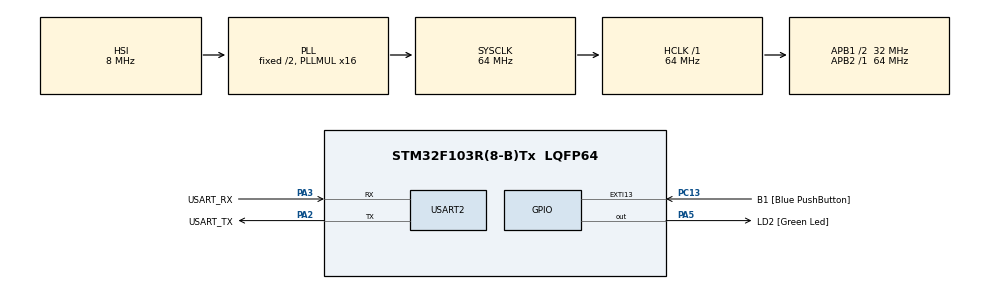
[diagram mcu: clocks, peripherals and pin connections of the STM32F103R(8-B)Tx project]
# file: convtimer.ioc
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Mcu.Family=STM32F1
Mcu.Name=STM32F103R(8-B)Tx
Mcu.Package=LQFP64
NVIC.EXTI15_10_IRQn=true\:0\:0\:false\:false\:true\:true\:true\:true
NVIC.PriorityGroup=NVIC_PRIORITYGROUP_4
PA13.GPIO_Label=TMS
PA13.Mode=Serial_Wire
PA13.Signal=SYS_JTMS-SWDIO
PA14.GPIO_Label=TCK
PA14.Mode=Serial_Wire
PA14.Signal=SYS_JTCK-SWCLK
PA2.GPIO_Label=USART_TX
PA2.GPIO_Mode=GPIO_MODE_AF_PP
PA2.GPIO_PuPd=GPIO_NOPULL
PA2.GPIO_Speed=GPIO_SPEED_FREQ_LOW
PA2.Mode=Asynchronous
PA2.Signal=USART2_TX
PA3.GPIO_Label=USART_RX
PA3.GPIO_Mode=GPIO_MODE_AF_PP
PA3.GPIO_PuPd=GPIO_NOPULL
PA3.GPIO_Speed=GPIO_SPEED_FREQ_LOW
PA3.Mode=Asynchronous
PA3.Signal=USART2_RX
PA5.GPIO_Label=LD2 [Green Led]
PA5.GPIO_ModeDefaultOutputPP=GPIO_MODE_OUTPUT_PP
PA5.GPIO_PuPd=GPIO_NOPULL
PA5.GPIO_Speed=GPIO_SPEED_FREQ_LOW
PA5.Signal=GPIO_Output
PB3.GPIO_Label=SWO
PB3.Signal=SYS_JTDO-TRACESWO
PC13-TAMPER-RTC.GPIO_Label=B1 [Blue PushButton]
PC13-TAMPER-RTC.GPIO_PuPd=GPIO_NOPULL
PC13-TAMPER-RTC.Signal=GPXTI13
PC14-OSC32_IN.Mode=LSE-External-Oscillator
PC14-OSC32_IN.Signal=RCC_OSC32_IN
PC15-OSC32_OUT.Mode=LSE-External-Oscillator
PC15-OSC32_OUT.Signal=RCC_OSC32_OUT
PD0-OSC_IN.Mode=HSE-External-Clock-Source
PD0-OSC_IN.Signal=RCC_OSC_IN
PD1-OSC_OUT.Mode=HSE-External-Clock-Source
PD1-OSC_OUT.Signal=RCC_OSC_OUT
ProjectManager.HeapSize=0x200
ProjectManager.StackSize=0x400
ProjectManager.TargetToolchain=STM32CubeIDE
RCC.AHBFreq_Value=64000000
RCC.APB1CLKDivider=RCC_HCLK_DIV2
RCC.APB1Freq_Value=32000000
RCC.APB1TimFreq_Value=64000000
RCC.APB2Freq_Value=64000000
RCC.APB2TimFreq_Value=64000000
RCC.HCLKFreq_Value=64000000
RCC.PLLMUL=RCC_PLL_MUL16
RCC.RTCClockSelection=RCC_RTCCLKSOURCE_LSE
RCC.SYSCLKFreq_VALUE=64000000
RCC.SYSCLKSource=RCC_SYSCLKSOURCE_PLLCLK
RCC.USBFreq_Value=64000000
TIM2.Prescaler=63
USART2.VirtualMode=VM_ASYNC
VP_TIM2_VS_ClockSourceINT.Mode=Internal
board=NUCLEO-F103RB

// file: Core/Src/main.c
/* USER CODE BEGIN Header */
/**
  ******************************************************************************
  * @file           : main.c
  * @brief          : Main program body
  ******************************************************************************
  * @attention
  *
  * Copyright (c) 2025 STMicroelectronics.
  * All rights reserved.
  *
  * This software is licensed under terms that can be found in the LICENSE file
  * in the root directory of this software component.
  * If no LICENSE file comes with this software, it is provided AS-IS.
  *
  ******************************************************************************
  */
/* USER CODE END Header */
#include "main.h"

/* USER CODE BEGIN Includes */
#include <string.h>
#include <math.h>
/* USER CODE END Includes */

/* USER CODE BEGIN PD */

/**
 * @brief Dimensão total do bloco recebido (com borda), 10×10 pixels.
 */
#define IMG_WIDTH_TOTAL  10
#define IMG_HEIGHT_TOTAL 10

/**
 * @brief Dimensão útil da imagem onde a convolução é aplicada (8×8 pixels).
 */
#define IMG_WIDTH_USEFUL 8
#define IMG_HEIGHT_USEFUL 8

/**
 * @brief Quantidade de bytes recebidos por bloco (imagem completa 10×10).
 */
#define BLOCK_RX_SIZE (IMG_WIDTH_TOTAL * IMG_HEIGHT_TOTAL)

/**
 * @brief Quantidade de bytes enviados após processamento (imagem 8×8).
 */
#define BLOCK_TX_SIZE (IMG_WIDTH_USEFUL * IMG_HEIGHT_USEFUL)

/* USER CODE END PD */

TIM_HandleTypeDef htim2;

UART_HandleTypeDef huart2;

/* USER CODE BEGIN PV */

/**
 * @brief Buffer de recepção contendo imagem 10×10 enviada pelo host.
 */
uint8_t rx_buffer[BLOCK_RX_SIZE];

/**
 * @brief Buffer de transmissão contendo imagem filtrada 8×8.
 */
uint8_t tx_buffer[BLOCK_TX_SIZE];

/**
 * @brief Sequência de reconhecimento (ACK). Enviada antes e depois de cada bloco.
 */
uint8_t ack[2] = {0xAA, 0x55};
uint32_t t_start, t_end, t_exec_us;

/**
 * @brief Kernel 3×3 utilizado no processamento.
 */

const int Filter[3][3] = {
    {-1, 0, 1},
    {-2, 0, 2},
    {-1, 0, 1}
};

/* USER CODE END PV */

void SystemClock_Config(void);
static void MX_GPIO_Init(void);
static void MX_USART2_UART_Init(void);
static void MX_TIM2_Init(void);
/* USER CODE BEGIN PFP */

/**
 * @brief Aplica convolução 3×3 somente na área útil (8×8) da imagem.
 *
 * @param input   Imagem de entrada 10×10 (com bordas).
 * @param output  Imagem de saída 8×8 (somente região central).
 * @param filter  Kernel 3×3 a ser aplicado.
 *
 * @details
 * A função ignora os pixels da borda, deslocando o índice adequadamente para
 * mapear a região útil. Valores de saída são saturados para o intervalo [0, 255].
 */
void apply_convolution(uint8_t input[IMG_HEIGHT_TOTAL][IMG_WIDTH_TOTAL],
                       uint8_t output[IMG_HEIGHT_USEFUL][IMG_WIDTH_USEFUL],
                       const int filter[3][3]);

/* USER CODE END PFP */

int main(void)
{

  /* MCU Configuration--------------------------------------------------------*/

  /* Reset of all peripherals, Initializes the Flash interface and the Systick. */
  HAL_Init();

  /* Configure the system clock */
  SystemClock_Config();

  /* Initialize all configured peripherals */
  MX_GPIO_Init();
  MX_USART2_UART_Init();
  MX_TIM2_Init();
  HAL_TIM_Base_Start(&htim2);

  /* Infinite loop */
  while (1)
  {
char msg[32];
      t_start = __HAL_TIM_GET_COUNTER(&htim2);
      uint8_t img_in[IMG_HEIGHT_TOTAL][IMG_WIDTH_TOTAL];
      uint8_t img_out[IMG_HEIGHT_USEFUL][IMG_WIDTH_USEFUL];

      for (int i = 0; i < IMG_HEIGHT_TOTAL; i++) {
              for (int j = 0; j < IMG_WIDTH_TOTAL; j++) {
                  img_in[i][j] = i+j;
              }
          }
      apply_convolution(img_in, img_out, Filter);

      t_end = __HAL_TIM_GET_COUNTER(&htim2);
      t_exec_us = t_end - t_start;
      int len = snprintf(msg, sizeof(msg),
                         "T=%lu us\r\n",
                         (unsigned long)t_exec_us);
      /* ===================== 6) ACK antes de enviar ==================== */
      HAL_UART_Transmit(
          &huart2,
          (uint8_t *)msg,
          len,
          HAL_MAX_DELAY
      );
  }
  }

void SystemClock_Config(void)
{
  RCC_OscInitTypeDef RCC_OscInitStruct = {0};
  RCC_ClkInitTypeDef RCC_ClkInitStruct = {0};

  /** Initializes the RCC Oscillators according to the specified parameters
  * in the RCC_OscInitTypeDef structure.
  */
  RCC_OscInitStruct.OscillatorType = RCC_OSCILLATORTYPE_HSI;
  RCC_OscInitStruct.HSIState = RCC_HSI_ON;
  RCC_OscInitStruct.HSICalibrationValue = RCC_HSICALIBRATION_DEFAULT;
  RCC_OscInitStruct.PLL.PLLState = RCC_PLL_ON;
  RCC_OscInitStruct.PLL.PLLSource = RCC_PLLSOURCE_HSI_DIV2;
  RCC_OscInitStruct.PLL.PLLMUL = RCC_PLL_MUL16;
  if (HAL_RCC_OscConfig(&RCC_OscInitStruct) != HAL_OK)
  {
    Error_Handler();
  }

  /** Initializes the CPU, AHB and APB buses clocks
  */
  RCC_ClkInitStruct.ClockType = RCC_CLOCKTYPE_HCLK|RCC_CLOCKTYPE_SYSCLK
                              |RCC_CLOCKTYPE_PCLK1|RCC_CLOCKTYPE_PCLK2;
  RCC_ClkInitStruct.SYSCLKSource = RCC_SYSCLKSOURCE_PLLCLK;
  RCC_ClkInitStruct.AHBCLKDivider = RCC_SYSCLK_DIV1;
  RCC_ClkInitStruct.APB1CLKDivider = RCC_HCLK_DIV2;
  RCC_ClkInitStruct.APB2CLKDivider = RCC_HCLK_DIV1;

  if (HAL_RCC_ClockConfig(&RCC_ClkInitStruct, FLASH_LATENCY_2) != HAL_OK)
  {
    Error_Handler();
  }
}

static void MX_TIM2_Init(void)
{

  TIM_ClockConfigTypeDef sClockSourceConfig = {0};
  TIM_MasterConfigTypeDef sMasterConfig = {0};

  htim2.Instance = TIM2;
  htim2.Init.Prescaler = 63;
  htim2.Init.CounterMode = TIM_COUNTERMODE_UP;
  htim2.Init.Period = 65535;
  htim2.Init.ClockDivision = TIM_CLOCKDIVISION_DIV1;
  htim2.Init.AutoReloadPreload = TIM_AUTORELOAD_PRELOAD_DISABLE;
  if (HAL_TIM_Base_Init(&htim2) != HAL_OK)
  {
    Error_Handler();
  }
  sClockSourceConfig.ClockSource = TIM_CLOCKSOURCE_INTERNAL;
  if (HAL_TIM_ConfigClockSource(&htim2, &sClockSourceConfig) != HAL_OK)
  {
    Error_Handler();
  }
  sMasterConfig.MasterOutputTrigger = TIM_TRGO_RESET;
  sMasterConfig.MasterSlaveMode = TIM_MASTERSLAVEMODE_DISABLE;
  if (HAL_TIMEx_MasterConfigSynchronization(&htim2, &sMasterConfig) != HAL_OK)
  {
    Error_Handler();
  }

}

static void MX_USART2_UART_Init(void)
{

  huart2.Instance = USART2;
  huart2.Init.BaudRate = 115200;
  huart2.Init.WordLength = UART_WORDLENGTH_8B;
  huart2.Init.StopBits = UART_STOPBITS_1;
  huart2.Init.Parity = UART_PARITY_NONE;
  huart2.Init.Mode = UART_MODE_TX_RX;
  huart2.Init.HwFlowCtl = UART_HWCONTROL_NONE;
  huart2.Init.OverSampling = UART_OVERSAMPLING_16;
  if (HAL_UART_Init(&huart2) != HAL_OK)
  {
    Error_Handler();
  }

}

static void MX_GPIO_Init(void)
{
  GPIO_InitTypeDef GPIO_InitStruct = {0};

  /* GPIO Ports Clock Enable */
  __HAL_RCC_GPIOC_CLK_ENABLE();
  __HAL_RCC_GPIOD_CLK_ENABLE();
  __HAL_RCC_GPIOA_CLK_ENABLE();
  __HAL_RCC_GPIOB_CLK_ENABLE();

  /*Configure GPIO pin Output Level */
  HAL_GPIO_WritePin(LD2_GPIO_Port, LD2_Pin, GPIO_PIN_RESET);

  /*Configure GPIO pin : B1_Pin */
  GPIO_InitStruct.Pin = B1_Pin;
  GPIO_InitStruct.Mode = GPIO_MODE_IT_RISING;
  GPIO_InitStruct.Pull = GPIO_NOPULL;
  HAL_GPIO_Init(B1_GPIO_Port, &GPIO_InitStruct);

  /*Configure GPIO pin : LD2_Pin */
  GPIO_InitStruct.Pin = LD2_Pin;
  GPIO_InitStruct.Mode = GPIO_MODE_OUTPUT_PP;
  GPIO_InitStruct.Pull = GPIO_NOPULL;
  GPIO_InitStruct.Speed = GPIO_SPEED_FREQ_LOW;
  HAL_GPIO_Init(LD2_GPIO_Port, &GPIO_InitStruct);

  /* EXTI interrupt init*/
  HAL_NVIC_SetPriority(EXTI15_10_IRQn, 0, 0);
  HAL_NVIC_EnableIRQ(EXTI15_10_IRQn);

}

/* USER CODE BEGIN 4 */
/* ========================================================================== */
/* ========================== Função de convolução ========================== */
/* ========================================================================== */
void apply_convolution(uint8_t input[IMG_HEIGHT_TOTAL][IMG_WIDTH_TOTAL],
                       uint8_t output[IMG_HEIGHT_USEFUL][IMG_WIDTH_USEFUL],
                       const int filter[3][3])
{
    for (int i = 1; i < IMG_HEIGHT_TOTAL - 1; i++) {
        for (int j = 1; j < IMG_WIDTH_TOTAL - 1; j++) {

            int out_i = i - 1;
            int out_j = j - 1;

            /* Ignora pixels fora da área útil 8×8 */
            if (out_i < 0 || out_j < 0 ||
                out_i >= IMG_HEIGHT_USEFUL || out_j >= IMG_WIDTH_USEFUL)
                continue;

            int sum = 0;

            /* Aplica o kernel 3×3 */
            for (int ki = -1; ki <= 1; ki++) {
                for (int kj = -1; kj <= 1; kj++) {
                    sum += input[i + ki][j + kj] * filter[ki + 1][kj + 1];
                }
            }

            /* Saturação para 8 bits */
            if (sum < 0) sum = 0;
            if (sum > 255) sum = 255;

            output[out_i][out_j] = (uint8_t)sum;
        }
    }
}
/* USER CODE END 4 */

void Error_Handler(void)
{
  __disable_irq();
  while (1)
  {
  }
}
